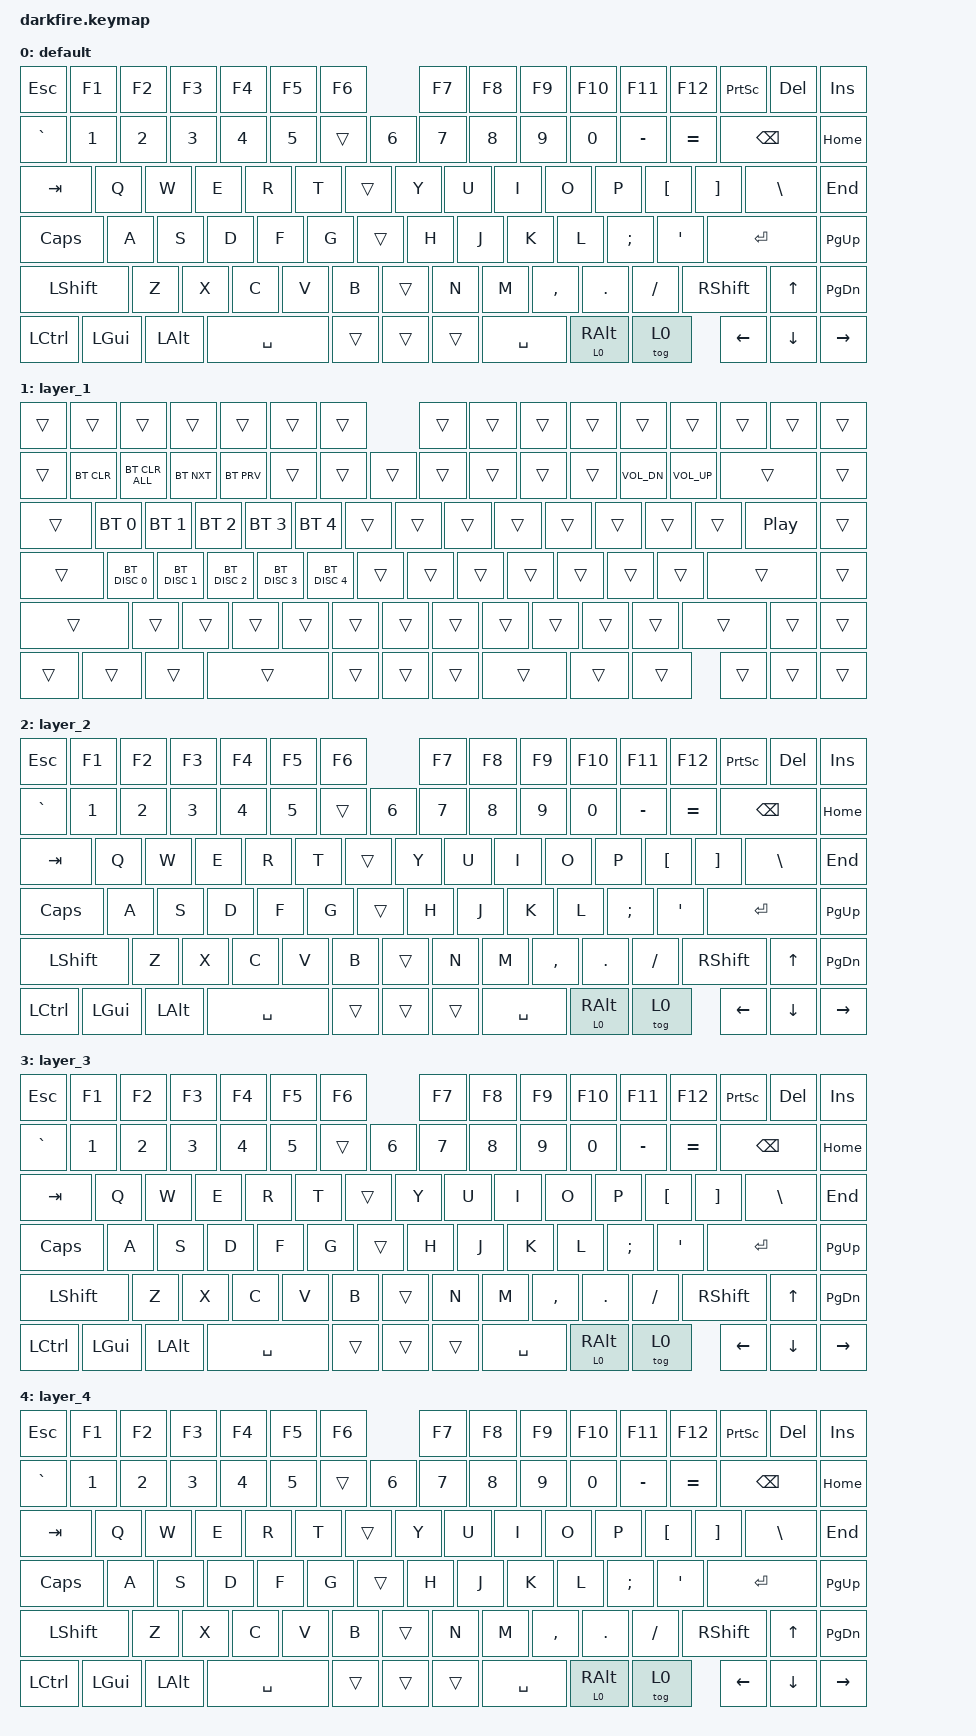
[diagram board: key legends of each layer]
// Copyright (c) 2022 The ZMK Contributors
// SPDX-License-Identifier: MIT

#include <behaviors.dtsi>
#include <dt-bindings/zmk/keys.h>
#include <dt-bindings/zmk/bt.h>

// Home row mods macro
#define HRML(k1,k2,k3,k4) &ht LSHFT k1  &ht LALT k2  &ht LCTRL k3  &ht LGUI k4
#define HRMR(k1,k2,k3,k4) &ht RGUI k1  &ht RCTRL k2  &ht RALT k3  &ht RSHFT k4

/ {
    behaviors {
        ht: hold_tap {
            compatible = "zmk,behavior-hold-tap";
            #binding-cells = <2>;
            flavor = "tap-preferred";
            tapping-term-ms = <220>;
            quick-tap-ms = <150>;
            require-prior-idle-ms = <100>;
            bindings = <&kp>, <&kp>;
        };
    };

    conditional_layers {
        compatible = "zmk,conditional-layers";
       //  tri_layer {
       //      if-layers = <1 2>;
       //      then-layer = <3>;
       //  };
    };

     keymap {
         compatible = "zmk,keymap";
 
         default {
             bindings = <
                 //  0,0      0, 1    0,2       0,3    0, 4     0,5    0,6              7       8       9         10      11      12        13         14      15
                 &kp ESCAPE  &kp F1  &kp F2  &kp F3  &kp F4  &kp F5  &kp F6          &kp F7  &kp F8  &kp F9  &kp F10  &kp F11  &kp F12  &kp PSCRN  &kp DEL  &kp INS  
                 //  1,0          1       2      3      4       5      6               7       8      9      10        11         12         13            14      15
                 &kp GRAVE  &kp N1  &kp N2  &kp N3  &kp N4  &kp N5  &trans          &kp N6  &kp N7  &kp N8  &kp N9  &kp N0  &kp MINUS  &kp EQUAL  &kp BACKSPACE  &kp HOME  
                 //  2,0        1      2     3   4        5      6                          7       8     9      10       11        12          13       14        15
                 &kp TAB  &kp Q  &kp W  &kp E  &kp R  &kp T    &trans                      &kp Y  &kp U  &kp I  &kp O  &kp P  &kp LBKT  &kp RBKT  &kp BACKSLASH  &kp END  
                 //  3,0     1       2      3     4     5        6                             7      8      9     10       11        12       13        14
                 &kp CAPS  &kp A  &kp S  &kp D  &kp F  &kp G   &trans                        &kp H  &kp J  &kp K  &kp L  &kp SEMI  &kp SQT  &kp RET  &kp PG_UP  
                 //  4,0      1      2       3     4     5         6                             7         8       9      10        11        12         13       14
                 &kp LSHIFT  &kp Z  &kp X  &kp C  &kp V  &kp B   &trans                        &kp N  &kp M  &kp COMMA  &kp DOT  &kp FSLH  &kp RSHIFT  &kp UP  &kp PG_DN  
                 //  5,0         1         2         3          4       5        6               7               8         9        10         11       12
                 &kp LCTRL  &kp LGUI  &kp LALT  &kp SPACE    &trans  &trans    &trans        &kp SPACE   &lt 0 RIGHT_ALT  &tog 0  &kp LEFT  &kp DOWN  &kp RIGHT
             >;

         };
         layer_1 {
             bindings = <
                 //  0,0      0, 1      0,2     0,3    0, 4     0,5    0,6              7       8       9         10      11      12        13         14      15
                 &trans       &trans  &trans  &trans  &trans  &trans  &trans         &trans  &trans  &trans     &trans  &trans  &trans     &trans    &trans  &trans  
                 //  1,0        1           2               3           4       5      6               7       8      9        10        11             12           13         14        15
                    &trans  &bt BT_CLR  &bt BT_CLR_ALL &bt BT_NXT  &bt BT_PRV  &trans  &trans         &trans   &trans   &trans  &trans  &trans   &kp C_VOL_DN  &kp C_VOL_UP   &trans    &trans
                 //  2,0        1           2            3              4           5           6                          7       8     9      10     11      12      13          14             15
                 &trans  &bt BT_SEL 0  &bt BT_SEL 1 &bt BT_SEL 2  &bt BT_SEL 3 &bt BT_SEL 4  &trans                      &trans &trans &trans &trans  &trans &trans  &trans  &kp C_PLAY_PAUSE   &trans 
                 //  3,0        1              2             3             4              5           6                              7         8        9      10        11        12      13     14   
                   &trans  &bt BT_DISC 0  &bt BT_DISC 1 &bt BT_DISC 2  &bt BT_DISC 3 &bt BT_DISC 4   &trans                        &trans   &trans  &trans  &trans   &trans      &trans   &trans  &trans
                 //  4,0      1      2       3     4     5         6                             7         8         9      10          11      12      13       14
                 &trans  &trans  &trans  &trans  &trans  &trans   &trans                        &trans   &trans    &trans   &trans    &trans   &trans  &trans  &trans
                 //  5,0   1         2         3          4       5        6               7            8         9        10         11       12
                 &trans  &trans  &trans      &trans    &trans  &trans    &trans          &trans         &trans     &trans    &trans   &trans   &trans 
             >;
         };

         layer_2 {
             bindings = <
                 //  0,0      0, 1    0,2       0,3    0, 4     0,5    0,6              7       8       9         10      11      12        13         14      15
                 &kp ESCAPE  &kp F1  &kp F2  &kp F3  &kp F4  &kp F5  &kp F6          &kp F7  &kp F8  &kp F9  &kp F10  &kp F11  &kp F12  &kp PSCRN  &kp DEL  &kp INS  
                 //  1,0          1       2      3      4       5      6               7       8      9      10        11         12         13            14      15
                 &kp GRAVE  &kp N1  &kp N2  &kp N3  &kp N4  &kp N5  &trans          &kp N6  &kp N7  &kp N8  &kp N9  &kp N0  &kp MINUS  &kp EQUAL  &kp BACKSPACE  &kp HOME  
                 //  2,0        1      2     3   4        5      6                          7       8     9      10       11        12          13       14        15
                 &kp TAB  &kp Q  &kp W  &kp E  &kp R  &kp T    &trans                      &kp Y  &kp U  &kp I  &kp O  &kp P  &kp LBKT  &kp RBKT  &kp BACKSLASH  &kp END  
                 //  3,0     1       2      3     4     5        6                             7      8      9     10       11        12       13        14
                 &kp CAPS  &kp A  &kp S  &kp D  &kp F  &kp G   &trans                        &kp H  &kp J  &kp K  &kp L  &kp SEMI  &kp SQT  &kp RET  &kp PG_UP  
                 //  4,0      1      2       3     4     5         6                             7         8       9      10        11        12         13       14
                 &kp LSHIFT  &kp Z  &kp X  &kp C  &kp V  &kp B   &trans                        &kp N  &kp M  &kp COMMA  &kp DOT  &kp FSLH  &kp RSHIFT  &kp UP  &kp PG_DN  
                 //  5,0         1         2         3          4       5        6               7               8         9        10         11       12
                 &kp LCTRL  &kp LGUI  &kp LALT  &kp SPACE    &trans  &trans    &trans        &kp SPACE   &lt 0 RIGHT_ALT  &tog 0  &kp LEFT  &kp DOWN  &kp RIGHT
             >;
         };

         layer_3 {
             bindings = <
                 //  0,0      0, 1    0,2       0,3    0, 4     0,5    0,6              7       8       9         10      11      12        13         14      15
                 &kp ESCAPE  &kp F1  &kp F2  &kp F3  &kp F4  &kp F5  &kp F6          &kp F7  &kp F8  &kp F9  &kp F10  &kp F11  &kp F12  &kp PSCRN  &kp DEL  &kp INS  
                 //  1,0          1       2      3      4       5      6               7       8      9      10        11         12         13            14      15
                 &kp GRAVE  &kp N1  &kp N2  &kp N3  &kp N4  &kp N5  &trans          &kp N6  &kp N7  &kp N8  &kp N9  &kp N0  &kp MINUS  &kp EQUAL  &kp BACKSPACE  &kp HOME  
                 //  2,0        1      2     3   4        5      6                          7       8     9      10       11        12          13       14        15
                 &kp TAB  &kp Q  &kp W  &kp E  &kp R  &kp T    &trans                      &kp Y  &kp U  &kp I  &kp O  &kp P  &kp LBKT  &kp RBKT  &kp BACKSLASH  &kp END  
                 //  3,0     1       2      3     4     5        6                             7      8      9     10       11        12       13        14
                 &kp CAPS  &kp A  &kp S  &kp D  &kp F  &kp G   &trans                        &kp H  &kp J  &kp K  &kp L  &kp SEMI  &kp SQT  &kp RET  &kp PG_UP  
                 //  4,0      1      2       3     4     5         6                             7         8       9      10        11        12         13       14
                 &kp LSHIFT  &kp Z  &kp X  &kp C  &kp V  &kp B   &trans                        &kp N  &kp M  &kp COMMA  &kp DOT  &kp FSLH  &kp RSHIFT  &kp UP  &kp PG_DN  
                 //  5,0         1         2         3          4       5        6               7               8         9        10         11       12
                 &kp LCTRL  &kp LGUI  &kp LALT  &kp SPACE    &trans  &trans    &trans        &kp SPACE   &lt 0 RIGHT_ALT  &tog 0  &kp LEFT  &kp DOWN  &kp RIGHT
             >;
         };

         layer_4 {
             bindings = <
                 //  0,0      0, 1    0,2       0,3    0, 4     0,5    0,6              7       8       9         10      11      12        13         14      15
                 &kp ESCAPE  &kp F1  &kp F2  &kp F3  &kp F4  &kp F5  &kp F6          &kp F7  &kp F8  &kp F9  &kp F10  &kp F11  &kp F12  &kp PSCRN  &kp DEL  &kp INS  
                 //  1,0          1       2      3      4       5      6               7       8      9      10        11         12         13            14      15
                 &kp GRAVE  &kp N1  &kp N2  &kp N3  &kp N4  &kp N5  &trans          &kp N6  &kp N7  &kp N8  &kp N9  &kp N0  &kp MINUS  &kp EQUAL  &kp BACKSPACE  &kp HOME  
                 //  2,0        1      2     3   4        5      6                          7       8     9      10       11        12          13       14        15
                 &kp TAB  &kp Q  &kp W  &kp E  &kp R  &kp T    &trans                      &kp Y  &kp U  &kp I  &kp O  &kp P  &kp LBKT  &kp RBKT  &kp BACKSLASH  &kp END  
                 //  3,0     1       2      3     4     5        6                             7      8      9     10       11        12       13        14
                 &kp CAPS  &kp A  &kp S  &kp D  &kp F  &kp G   &trans                        &kp H  &kp J  &kp K  &kp L  &kp SEMI  &kp SQT  &kp RET  &kp PG_UP  
                 //  4,0      1      2       3     4     5         6                             7         8       9      10        11        12         13       14
                 &kp LSHIFT  &kp Z  &kp X  &kp C  &kp V  &kp B   &trans                        &kp N  &kp M  &kp COMMA  &kp DOT  &kp FSLH  &kp RSHIFT  &kp UP  &kp PG_DN  
                 //  5,0         1         2         3          4       5        6               7               8         9        10         11       12
                 &kp LCTRL  &kp LGUI  &kp LALT  &kp SPACE    &trans  &trans    &trans        &kp SPACE   &lt 0 RIGHT_ALT  &tog 0  &kp LEFT  &kp DOWN  &kp RIGHT
             >;
         };
     };
};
